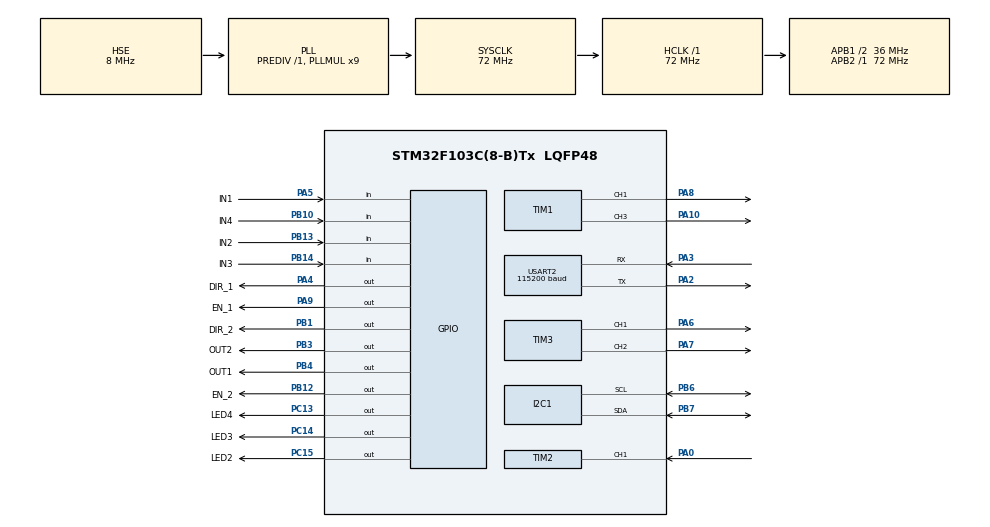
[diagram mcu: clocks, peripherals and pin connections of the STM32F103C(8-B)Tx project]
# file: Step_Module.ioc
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FREERTOS.HEAP_NUMBER=4
FREERTOS.Tasks01=IOTask,24,128,StartIOTask,Default,NULL,Dynamic,NULL,NULL;UartTask,40,128,StartUartTask,Default,NULL,Dynamic,NULL,NULL;MotorTask,24,128,StartMotorTask,Default,NULL,Dynamic,NULL,NULL;VisibleTask,26,128,StartVisibleTask,Default,NULL,Dynamic,NULL,NULL;encoderTask,29,128,StartEncodeTask,Default,NULL,Dynamic,NULL,NULL
FREERTOS.configTOTAL_HEAP_SIZE=4096
Mcu.Family=STM32F1
Mcu.Name=STM32F103C(8-B)Tx
Mcu.Package=LQFP48
NVIC.I2C1_ER_IRQn=true\:5\:0\:false\:false\:true\:true\:true\:true\:true
NVIC.I2C1_EV_IRQn=true\:5\:0\:false\:false\:true\:true\:true\:true\:true
NVIC.PriorityGroup=NVIC_PRIORITYGROUP_4
NVIC.RCC_IRQn=true\:5\:0\:false\:false\:true\:true\:true\:false\:true
NVIC.TIM1_BRK_IRQn=true\:5\:0\:false\:false\:true\:true\:true\:true\:true
NVIC.TIM1_CC_IRQn=true\:5\:0\:false\:false\:true\:true\:true\:true\:true
NVIC.TIM1_UP_IRQn=true\:5\:0\:false\:false\:true\:true\:true\:true\:true
NVIC.TIM2_IRQn=true\:5\:0\:false\:false\:true\:true\:true\:true\:true
NVIC.TIM3_IRQn=true\:5\:0\:false\:false\:true\:true\:true\:true\:true
NVIC.USART2_IRQn=true\:5\:0\:false\:false\:true\:true\:true\:true\:true
PA0-WKUP.Signal=S_TIM2_CH1_ETR
PA10.Signal=S_TIM1_CH3
PA13.Mode=Serial_Wire
PA13.Signal=SYS_JTMS-SWDIO
PA14.Mode=Serial_Wire
PA14.Signal=SYS_JTCK-SWCLK
PA2.Mode=Asynchronous
PA2.Signal=USART2_TX
PA3.Mode=Asynchronous
PA3.Signal=USART2_RX
PA4.GPIO_Label=DIR_1
PA4.Signal=GPIO_Output
PA5.GPIO_Label=IN1
PA5.Signal=GPIO_Input
PA6.Signal=S_TIM3_CH1
PA7.Signal=S_TIM3_CH2
PA8.Signal=S_TIM1_CH1
PA9.GPIO_Label=EN_1
PA9.Signal=GPIO_Output
PB1.GPIO_Label=DIR_2
PB1.Signal=GPIO_Output
PB10.GPIO_Label=IN4
PB10.Signal=GPIO_Input
PB12.GPIO_Label=EN_2
PB12.Signal=GPIO_Output
PB13.GPIO_Label=IN2
PB13.Signal=GPIO_Input
PB14.GPIO_Label=IN3
PB14.Signal=GPIO_Input
PB3.GPIO_Label=OUT2
PB3.Signal=GPIO_Output
PB4.GPIO_Label=OUT1
PB4.Signal=GPIO_Output
PB6.Mode=I2C
PB6.Signal=I2C1_SCL
PB7.Mode=I2C
PB7.Signal=I2C1_SDA
PC13-TAMPER-RTC.GPIO_Label=LED4
PC13-TAMPER-RTC.Signal=GPIO_Output
PC14-OSC32_IN.GPIO_Label=LED3
PC14-OSC32_IN.Signal=GPIO_Output
PC15-OSC32_OUT.GPIO_Label=LED2
PC15-OSC32_OUT.Signal=GPIO_Output
PD0-OSC_IN.Mode=HSE-External-Oscillator
PD0-OSC_IN.Signal=RCC_OSC_IN
PD1-OSC_OUT.Mode=HSE-External-Oscillator
PD1-OSC_OUT.Signal=RCC_OSC_OUT
ProjectManager.HeapSize=0x200
ProjectManager.StackSize=0x400
ProjectManager.TargetToolchain=STM32CubeIDE
RCC.AHBFreq_Value=72000000
RCC.APB1CLKDivider=RCC_HCLK_DIV2
RCC.APB1Freq_Value=36000000
RCC.APB1TimFreq_Value=72000000
RCC.APB2Freq_Value=72000000
RCC.APB2TimFreq_Value=72000000
RCC.HCLKFreq_Value=72000000
RCC.PLLMUL=RCC_PLL_MUL9
RCC.PLLSourceVirtual=RCC_PLLSOURCE_HSE
RCC.SYSCLKFreq_VALUE=72000000
RCC.SYSCLKSource=RCC_SYSCLKSOURCE_PLLCLK
RCC.USBFreq_Value=72000000
SH.S_TIM1_CH1.0=TIM1_CH1,PWM Generation1 CH1
SH.S_TIM1_CH3.0=TIM1_CH3,PWM Generation3 CH3
SH.S_TIM2_CH1_ETR.0=TIM2_CH1,TriggerSource_TI1ED
SH.S_TIM3_CH1.0=TIM3_CH1,PWM Generation1 CH1
SH.S_TIM3_CH2.0=TIM3_CH2,PWM Generation2 CH2
TIM1.Channel-PWM\ Generation1\ CH1=TIM_CHANNEL_1
TIM1.Channel-PWM\ Generation3\ CH3=TIM_CHANNEL_3
TIM2.Channel-Input_Capture1_from_TRC=TIM_CHANNEL_1
TIM2.Slave_TriggerFilter=8
TIM3.Channel-PWM\ Generation1\ CH1=TIM_CHANNEL_1
TIM3.Channel-PWM\ Generation2\ CH2=TIM_CHANNEL_2
USART2.BaudRate=115200
USART2.VirtualMode=VM_ASYNC
VP_FREERTOS_VS_CMSIS_V2.Mode=CMSIS_V2
VP_TIM1_VS_ClockSourceINT.Mode=Internal
VP_TIM2_VS_CH1.Mode=Input_Capture1_from_TRC
VP_TIM2_VS_ControllerModeClock.Mode=Clock Mode
VP_TIM3_VS_ClockSourceINT.Mode=Internal
board=custom

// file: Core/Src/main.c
/* USER CODE BEGIN Header */
/**
  ******************************************************************************
  * @file           : main.c
  * @brief          : Main program body
  ******************************************************************************
  * @attention
  *
  * Copyright (c) 2025 STMicroelectronics.
  * All rights reserved.
  *
  * This software is licensed under terms that can be found in the LICENSE file
  * in the root directory of this software component.
  * If no LICENSE file comes with this software, it is provided AS-IS.
  *
  ******************************************************************************
  */
/* USER CODE END Header */
#include "main.h"
#include "cmsis_os.h"

/* USER CODE BEGIN Includes */
#include <string.h>
#include "MotorControl.h"
#include "UartModbus.h"
#include "ModbusMap.h"
#include "DOutput.h"
#include "Encoder.h"
/* USER CODE END Includes */

I2C_HandleTypeDef hi2c1;

TIM_HandleTypeDef htim1;
TIM_HandleTypeDef htim2;
TIM_HandleTypeDef htim3;

UART_HandleTypeDef huart2;
uint8_t current_baudrate = DEFAULT_CONFIG_BAUDRATE;

uint8_t PWM_Channel_Flag_1 = 0;
uint8_t PWM_Channel_Flag_2 = 0;
/* Definitions for IOTask */
osThreadId_t IOTaskHandle;
const osThreadAttr_t IOTask_attributes = {
  .name = "IOTask",
  .stack_size = 128 * 4,
  .priority = (osPriority_t) osPriorityNormal,
};
/* Definitions for UartTask */
osThreadId_t UartTaskHandle;
const osThreadAttr_t UartTask_attributes = {
  .name = "UartTask",
  .stack_size = 128 * 4,
  .priority = (osPriority_t) osPriorityHigh,
};
/* Definitions for MotorTask */
osThreadId_t MotorTaskHandle;
const osThreadAttr_t MotorTask_attributes = {
  .name = "MotorTask",
  .stack_size = 128 * 4,
  .priority = (osPriority_t) osPriorityNormal,
};
/* Definitions for VisibleTask */
osThreadId_t VisibleTaskHandle;
const osThreadAttr_t VisibleTask_attributes = {
  .name = "VisibleTask",
  .stack_size = 128 * 4,
  .priority = (osPriority_t) osPriorityNormal2,
};
/* Definitions for encoderTask */
osThreadId_t encoderTaskHandle;
const osThreadAttr_t encoderTask_attributes = {
  .name = "encoderTask",
  .stack_size = 128 * 4,
  .priority = (osPriority_t) osPriorityNormal5,
};
/* USER CODE BEGIN PV */
// Modbus register arrays

/* USER CODE END PV */

void SystemClock_Config(void);
static void MX_GPIO_Init(void);
static void MX_I2C1_Init(void);
static void MX_TIM2_Init(void);
static void MX_USART2_UART_Init(void);
static void MX_TIM1_Init(void);
static void MX_TIM3_Init(void);
void StartIOTask(void *argument);
void StartUartTask(void *argument);
void StartMotorTask(void *argument);
void StartVisibleTask(void *argument);
void StartEncodeTask(void *argument);

int main(void)
{

  /* MCU Configuration--------------------------------------------------------*/

  /* Reset of all peripherals, Initializes the Flash interface and the Systick. */
  HAL_Init();

  /* Configure the system clock */
  SystemClock_Config();

  /* Initialize all configured peripherals */
  MX_GPIO_Init();
  MX_I2C1_Init();
  MX_TIM2_Init();
  MX_USART2_UART_Init();
  MX_TIM1_Init();
  MX_TIM3_Init();
  /* USER CODE BEGIN 2 */

  // Start PWM timers for motor control
  // HAL_TIM_PWM_Start(&htim1, TIM_CHANNEL_1); // Motor 1 PWM
  // HAL_TIM_PWM_Start(&htim1, TIM_CHANNEL_3);
  //HAL_TIM_PWM_Start(&htim3, TIM_CHANNEL_1);
  // Initialize global variables
  g_totalReceived = 0;
  g_corruptionCount = 0;
  g_receivedIndex = 0;

  // Initialize Modbus registers
  // for (int i = 0; i < HOLDING_REG_COUNT; i++) {
  //   g_holdingRegisters[i] = 0;
  // }
  initializeModbusRegisters();
  Encoder_Init();
  // Set some default values for important registers

  // Initialize UART buffer
  memset(rxBuffer, 0, RX_BUFFER_SIZE);
  rxIndex = 0;
  frameReceived = 0;
  g_lastUARTActivity = HAL_GetTick();

  // Start UART reception
  HAL_UART_Receive_IT(&huart2, &rxBuffer[0], 1);
  /* USER CODE END 2 */

  /* Init scheduler */
  osKernelInitialize();

  /* Create the thread(s) */
  /* creation of IOTask */
  IOTaskHandle = osThreadNew(StartIOTask, NULL, &IOTask_attributes);

  /* creation of UartTask */
  UartTaskHandle = osThreadNew(StartUartTask, NULL, &UartTask_attributes);

  /* creation of MotorTask */
  MotorTaskHandle = osThreadNew(StartMotorTask, NULL, &MotorTask_attributes);

  /* creation of VisibleTask */
  VisibleTaskHandle = osThreadNew(StartVisibleTask, NULL, &VisibleTask_attributes);

  /* creation of encoderTask */
  encoderTaskHandle = osThreadNew(StartEncodeTask, NULL, &encoderTask_attributes);

  /* Start scheduler */
  osKernelStart();

  /* We should never get here as control is now taken by the scheduler */

  /* Infinite loop */
  while (1)
  {

  }
}

void SystemClock_Config(void)
{
  RCC_OscInitTypeDef RCC_OscInitStruct = {0};
  RCC_ClkInitTypeDef RCC_ClkInitStruct = {0};

  /** Initializes the RCC Oscillators according to the specified parameters
  * in the RCC_OscInitTypeDef structure.
  */
  RCC_OscInitStruct.OscillatorType = RCC_OSCILLATORTYPE_HSE;
  RCC_OscInitStruct.HSEState = RCC_HSE_ON;
  RCC_OscInitStruct.HSEPredivValue = RCC_HSE_PREDIV_DIV1;
  RCC_OscInitStruct.HSIState = RCC_HSI_ON;
  RCC_OscInitStruct.PLL.PLLState = RCC_PLL_ON;
  RCC_OscInitStruct.PLL.PLLSource = RCC_PLLSOURCE_HSE;
  RCC_OscInitStruct.PLL.PLLMUL = RCC_PLL_MUL9;
  if (HAL_RCC_OscConfig(&RCC_OscInitStruct) != HAL_OK)
  {
    Error_Handler();
  }

  /** Initializes the CPU, AHB and APB buses clocks
  */
  RCC_ClkInitStruct.ClockType = RCC_CLOCKTYPE_HCLK|RCC_CLOCKTYPE_SYSCLK
                              |RCC_CLOCKTYPE_PCLK1|RCC_CLOCKTYPE_PCLK2;
  RCC_ClkInitStruct.SYSCLKSource = RCC_SYSCLKSOURCE_PLLCLK;
  RCC_ClkInitStruct.AHBCLKDivider = RCC_SYSCLK_DIV1;
  RCC_ClkInitStruct.APB1CLKDivider = RCC_HCLK_DIV2;
  RCC_ClkInitStruct.APB2CLKDivider = RCC_HCLK_DIV1;

  if (HAL_RCC_ClockConfig(&RCC_ClkInitStruct, FLASH_LATENCY_2) != HAL_OK)
  {
    Error_Handler();
  }
}

static void MX_I2C1_Init(void)
{

  hi2c1.Instance = I2C1;
  hi2c1.Init.ClockSpeed = 100000;
  hi2c1.Init.DutyCycle = I2C_DUTYCYCLE_2;
  hi2c1.Init.OwnAddress1 = 0;
  hi2c1.Init.AddressingMode = I2C_ADDRESSINGMODE_7BIT;
  hi2c1.Init.DualAddressMode = I2C_DUALADDRESS_DISABLE;
  hi2c1.Init.OwnAddress2 = 0;
  hi2c1.Init.GeneralCallMode = I2C_GENERALCALL_DISABLE;
  hi2c1.Init.NoStretchMode = I2C_NOSTRETCH_DISABLE;
  if (HAL_I2C_Init(&hi2c1) != HAL_OK)
  {
    Error_Handler();
  }

}

static void MX_TIM1_Init(void)
{

  TIM_ClockConfigTypeDef sClockSourceConfig = {0};
  TIM_MasterConfigTypeDef sMasterConfig = {0};
  TIM_OC_InitTypeDef sConfigOC = {0};
  TIM_BreakDeadTimeConfigTypeDef sBreakDeadTimeConfig = {0};

  htim1.Instance = TIM1;
  htim1.Init.Prescaler = 0;
  htim1.Init.CounterMode = TIM_COUNTERMODE_UP;
  htim1.Init.Period = 65535;
  htim1.Init.ClockDivision = TIM_CLOCKDIVISION_DIV1;
  htim1.Init.RepetitionCounter = 0;
  htim1.Init.AutoReloadPreload = TIM_AUTORELOAD_PRELOAD_ENABLE;  // ✅ FIX JITTER: Bật preload để cập nhật ARR tại Update Event
  if (HAL_TIM_Base_Init(&htim1) != HAL_OK)
  {
    Error_Handler();
  }
  sClockSourceConfig.ClockSource = TIM_CLOCKSOURCE_INTERNAL;
  if (HAL_TIM_ConfigClockSource(&htim1, &sClockSourceConfig) != HAL_OK)
  {
    Error_Handler();
  }
  if (HAL_TIM_PWM_Init(&htim1) != HAL_OK)
  {
    Error_Handler();
  }
  sMasterConfig.MasterOutputTrigger = TIM_TRGO_RESET;
  sMasterConfig.MasterSlaveMode = TIM_MASTERSLAVEMODE_DISABLE;
  if (HAL_TIMEx_MasterConfigSynchronization(&htim1, &sMasterConfig) != HAL_OK)
  {
    Error_Handler();
  }
  sConfigOC.OCMode = TIM_OCMODE_PWM1;
  sConfigOC.Pulse = 0;
  sConfigOC.OCPolarity = TIM_OCPOLARITY_HIGH;
  sConfigOC.OCNPolarity = TIM_OCNPOLARITY_HIGH;
  sConfigOC.OCFastMode = TIM_OCFAST_DISABLE;
  sConfigOC.OCIdleState = TIM_OCIDLESTATE_RESET;
  sConfigOC.OCNIdleState = TIM_OCNIDLESTATE_RESET;
  if (HAL_TIM_PWM_ConfigChannel(&htim1, &sConfigOC, TIM_CHANNEL_1) != HAL_OK)
  {
    Error_Handler();
  }
  if (HAL_TIM_PWM_ConfigChannel(&htim1, &sConfigOC, TIM_CHANNEL_3) != HAL_OK)
  {
    Error_Handler();
  }
  sBreakDeadTimeConfig.OffStateRunMode = TIM_OSSR_DISABLE;
  sBreakDeadTimeConfig.OffStateIDLEMode = TIM_OSSI_DISABLE;
  sBreakDeadTimeConfig.LockLevel = TIM_LOCKLEVEL_OFF;
  sBreakDeadTimeConfig.DeadTime = 0;
  sBreakDeadTimeConfig.BreakState = TIM_BREAK_DISABLE;
  sBreakDeadTimeConfig.BreakPolarity = TIM_BREAKPOLARITY_HIGH;
  sBreakDeadTimeConfig.AutomaticOutput = TIM_AUTOMATICOUTPUT_DISABLE;
  if (HAL_TIMEx_ConfigBreakDeadTime(&htim1, &sBreakDeadTimeConfig) != HAL_OK)
  {
    Error_Handler();
  }
  HAL_TIM_MspPostInit(&htim1);

}

static void MX_TIM2_Init(void)
{

  TIM_SlaveConfigTypeDef sSlaveConfig = {0};
  TIM_MasterConfigTypeDef sMasterConfig = {0};
  TIM_IC_InitTypeDef sConfigIC = {0};

  htim2.Instance = TIM2;
  htim2.Init.Prescaler = 0;
  htim2.Init.CounterMode = TIM_COUNTERMODE_UP;
  htim2.Init.Period = 65535;
  htim2.Init.ClockDivision = TIM_CLOCKDIVISION_DIV1;
  htim2.Init.AutoReloadPreload = TIM_AUTORELOAD_PRELOAD_DISABLE;
  if (HAL_TIM_Base_Init(&htim2) != HAL_OK)
  {
    Error_Handler();
  }
  if (HAL_TIM_IC_Init(&htim2) != HAL_OK)
  {
    Error_Handler();
  }
  sSlaveConfig.SlaveMode = TIM_SLAVEMODE_EXTERNAL1;
  sSlaveConfig.InputTrigger = TIM_TS_TI1F_ED;
  sSlaveConfig.TriggerFilter = 8;
  if (HAL_TIM_SlaveConfigSynchro(&htim2, &sSlaveConfig) != HAL_OK)
  {
    Error_Handler();
  }
  sMasterConfig.MasterOutputTrigger = TIM_TRGO_RESET;
  sMasterConfig.MasterSlaveMode = TIM_MASTERSLAVEMODE_DISABLE;
  if (HAL_TIMEx_MasterConfigSynchronization(&htim2, &sMasterConfig) != HAL_OK)
  {
    Error_Handler();
  }
  sConfigIC.ICPolarity = TIM_INPUTCHANNELPOLARITY_RISING;
  sConfigIC.ICSelection = TIM_ICSELECTION_TRC;
  sConfigIC.ICPrescaler = TIM_ICPSC_DIV1;
  sConfigIC.ICFilter = 0;
  if (HAL_TIM_IC_ConfigChannel(&htim2, &sConfigIC, TIM_CHANNEL_1) != HAL_OK)
  {
    Error_Handler();
  }

}

static void MX_TIM3_Init(void)
{

  TIM_ClockConfigTypeDef sClockSourceConfig = {0};
  TIM_MasterConfigTypeDef sMasterConfig = {0};
  TIM_OC_InitTypeDef sConfigOC = {0};

  htim3.Instance = TIM3;
  htim3.Init.Prescaler = 0;
  htim3.Init.CounterMode = TIM_COUNTERMODE_UP;
  htim3.Init.Period = 65535;
  htim3.Init.ClockDivision = TIM_CLOCKDIVISION_DIV1;
  htim3.Init.AutoReloadPreload = TIM_AUTORELOAD_PRELOAD_ENABLE;  // ✅ FIX JITTER: Bật preload để cập nhật ARR tại Update Event
  if (HAL_TIM_Base_Init(&htim3) != HAL_OK)
  {
    Error_Handler();
  }
  sClockSourceConfig.ClockSource = TIM_CLOCKSOURCE_INTERNAL;
  if (HAL_TIM_ConfigClockSource(&htim3, &sClockSourceConfig) != HAL_OK)
  {
    Error_Handler();
  }
  if (HAL_TIM_PWM_Init(&htim3) != HAL_OK)
  {
    Error_Handler();
  }
  sMasterConfig.MasterOutputTrigger = TIM_TRGO_RESET;
  sMasterConfig.MasterSlaveMode = TIM_MASTERSLAVEMODE_DISABLE;
  if (HAL_TIMEx_MasterConfigSynchronization(&htim3, &sMasterConfig) != HAL_OK)
  {
    Error_Handler();
  }
  sConfigOC.OCMode = TIM_OCMODE_PWM1;
  sConfigOC.Pulse = 0;
  sConfigOC.OCPolarity = TIM_OCPOLARITY_HIGH;
  sConfigOC.OCFastMode = TIM_OCFAST_DISABLE;
  if (HAL_TIM_PWM_ConfigChannel(&htim3, &sConfigOC, TIM_CHANNEL_1) != HAL_OK)
  {
    Error_Handler();
  }
  if (HAL_TIM_PWM_ConfigChannel(&htim3, &sConfigOC, TIM_CHANNEL_2) != HAL_OK)
  {
    Error_Handler();
  }
  HAL_TIM_MspPostInit(&htim3);

}

static void MX_USART2_UART_Init(void)
{

  huart2.Instance = USART2;
  huart2.Init.BaudRate = 115200;
  huart2.Init.WordLength = UART_WORDLENGTH_8B;
  huart2.Init.StopBits = UART_STOPBITS_1;
  huart2.Init.Parity = UART_PARITY_NONE;
  huart2.Init.Mode = UART_MODE_TX_RX;
  huart2.Init.HwFlowCtl = UART_HWCONTROL_NONE;
  huart2.Init.OverSampling = UART_OVERSAMPLING_16;
  if (HAL_UART_Init(&huart2) != HAL_OK)
  {
    Error_Handler();
  }

}

static void MX_GPIO_Init(void)
{
  GPIO_InitTypeDef GPIO_InitStruct = {0};

  /* GPIO Ports Clock Enable */
  __HAL_RCC_GPIOC_CLK_ENABLE();
  __HAL_RCC_GPIOD_CLK_ENABLE();
  __HAL_RCC_GPIOA_CLK_ENABLE();
  __HAL_RCC_GPIOB_CLK_ENABLE();

  /*Configure GPIO pin Output Level */
  HAL_GPIO_WritePin(GPIOC, LED4_Pin|LED3_Pin|LED2_Pin, GPIO_PIN_RESET);

  /*Configure GPIO pin Output Level */
  HAL_GPIO_WritePin(GPIOA, DIR_1_Pin|EN_1_Pin, GPIO_PIN_RESET);

  /*Configure GPIO pin Output Level */
  HAL_GPIO_WritePin(GPIOB, DIR_2_Pin|EN_2_Pin|OUT2_Pin|OUT1_Pin, GPIO_PIN_RESET);

  /*Configure GPIO pins : LED4_Pin LED3_Pin LED2_Pin */
  GPIO_InitStruct.Pin = LED4_Pin|LED3_Pin|LED2_Pin;
  GPIO_InitStruct.Mode = GPIO_MODE_OUTPUT_PP;
  GPIO_InitStruct.Pull = GPIO_NOPULL;
  GPIO_InitStruct.Speed = GPIO_SPEED_FREQ_LOW;
  HAL_GPIO_Init(GPIOC, &GPIO_InitStruct);

  /*Configure GPIO pins : DIR_1_Pin EN_1_Pin */
  GPIO_InitStruct.Pin = DIR_1_Pin|EN_1_Pin;
  GPIO_InitStruct.Mode = GPIO_MODE_OUTPUT_PP;
  GPIO_InitStruct.Pull = GPIO_NOPULL;
  GPIO_InitStruct.Speed = GPIO_SPEED_FREQ_LOW;
  HAL_GPIO_Init(GPIOA, &GPIO_InitStruct);

  /*Configure GPIO pin : IN1_Pin */
  GPIO_InitStruct.Pin = IN1_Pin;
  GPIO_InitStruct.Mode = GPIO_MODE_INPUT;
  GPIO_InitStruct.Pull = GPIO_NOPULL;
  HAL_GPIO_Init(IN1_GPIO_Port, &GPIO_InitStruct);

  /*Configure GPIO pins : DIR_2_Pin EN_2_Pin OUT2_Pin OUT1_Pin */
  GPIO_InitStruct.Pin = DIR_2_Pin|EN_2_Pin|OUT2_Pin|OUT1_Pin;
  GPIO_InitStruct.Mode = GPIO_MODE_OUTPUT_PP;
  GPIO_InitStruct.Pull = GPIO_NOPULL;
  GPIO_InitStruct.Speed = GPIO_SPEED_FREQ_LOW;
  HAL_GPIO_Init(GPIOB, &GPIO_InitStruct);

  /*Configure GPIO pins : IN4_Pin IN2_Pin IN3_Pin */
  GPIO_InitStruct.Pin = IN4_Pin|IN2_Pin|IN3_Pin;
  GPIO_InitStruct.Mode = GPIO_MODE_INPUT;
  GPIO_InitStruct.Pull = GPIO_NOPULL;
  HAL_GPIO_Init(GPIOB, &GPIO_InitStruct);

}

void StartIOTask(void *argument)
{
  /* USER CODE BEGIN 5 */
  uint32_t previousTick = osKernelGetTickCount();
  /* Infinite loop */
  for(;;)
  {
    // Heartbeat LED toggle
    //HAL_GPIO_TogglePin(LED3_GPIO_Port, LED3_Pin);
    DOutput_Load(&doutput_state);
    DOutput_Process(&doutput_state);
    DOutput_Save(&doutput_state);
    // Update task counter
    g_taskCounter++;

    // Update input registers periodically (simulate sensor data)
    g_inputRegisters[0] = g_taskCounter;
    g_inputRegisters[1] = HAL_GetTick() & 0xFFFF;
    //Read_ACS712();

    osDelayUntil(previousTick += 500); // 500ms delay
  }
  /* USER CODE END 5 */
}

void StartUartTask(void *argument)
{
  /* USER CODE BEGIN StartUartTask */
  startModbusUARTReception();

  // Tính toán thời gian timeout dựa trên baudrate
  uint32_t charTime = (11 * 1000) / huart2.Init.BaudRate; // 11 bit per char (8N1 + start/stop)
  uint32_t frameTimeout = charTime * 4; // 3.5 char time for Modbus RTU
  if (frameTimeout < 5) frameTimeout = 5; // Tối thiểu 5ms
  uint32_t previousTick = osKernelGetTickCount();
  /* Infinite loop */
  for(;;) {

    g_modbusCounter++;

    // Xử lý frame đã nhận đủ
    if (frameReceived) {
        processModbusFrame();
    }

    // Kiểm tra timeout cho frame chưa hoàn chỉnh
    // Nếu có dữ liệu trong buffer nhưng chưa đủ frame và đã timeout
    if (!frameReceived && rxIndex > 0 && (HAL_GetTick() - g_lastUARTActivity > frameTimeout)) {
        // Frame không hoàn chỉnh và đã timeout - bỏ qua và reset
        rxIndex = 0;
        frameReceived = 0;
        g_corruptionCount++;
    }

    // Kiểm tra sức khỏe UART định kỳ
    checkUARTHealth();

    // Delay 1ms
    osDelayUntil(previousTick += 20);
  }
  /* USER CODE END StartUartTask */
}

void StartMotorTask(void *argument)
{
  /* USER CODE BEGIN StartMotorTask */
  const uint16_t M1_BASE_ADDR = 0x0000;
  const uint16_t M2_BASE_ADDR = 0x0010;
  // Initialize PID controllers with default values
  uint32_t previousTick = osKernelGetTickCount();
  MotionState_Init(1);
  MotionState_Init(2);

  // Vòng lặp RTOS
  for (;;)
  {
      // 1. Load dữ liệu từ Modbus registers
      SystemRegisters_Load(&system);
      MotorRegisters_Load(&motor1, M1_BASE_ADDR);
      MotorRegisters_Load(&motor2, M2_BASE_ADDR);
      if(system.Reset_Error_Command == 1){
        System_ResetSystem();
      }
      updateBaudrate();
      // 2. Xử lý logic điều khiển motor 1
      Motor_ProcessControl(&motor1);

      // 3. Xử lý logic điều khiển motor 2
      Motor_ProcessControl(&motor2);

      // 4. Save lại dữ liệu ngược ra Modbus registers
      MotorRegisters_Save(&motor1, M1_BASE_ADDR);
      MotorRegisters_Save(&motor2, M2_BASE_ADDR);
      SystemRegisters_Save(&system);
      // 5. Delay theo chu kỳ task (ví dụ 10ms)
      osDelayUntil(previousTick += 20);
  }
  /* USER CODE END StartMotorTask */
}

void StartVisibleTask(void *argument)
{
  /* USER CODE BEGIN StartVisibleTask */
  uint32_t previousTick = osKernelGetTickCount();
  for(;;)
  {
    HAL_GPIO_TogglePin(LED2_GPIO_Port, LED2_Pin);

    if(g_ledIndicator == 1)
    {
      HAL_GPIO_TogglePin(LED3_GPIO_Port, LED3_Pin);
      g_ledIndicator = 0;
    }

    osDelayUntil(previousTick += 120); // giữ chu kỳ chính xác 250ms
  }
  /* USER CODE END StartVisibleTask */
}

void StartEncodeTask(void *argument)
{
  /* USER CODE BEGIN StartEncodeTask */
  uint32_t previousTick = osKernelGetTickCount();
  /* Infinite loop */
  for(;;)
  {
    Encoder_Update();
    osDelayUntil(previousTick += 100);
  }
  /* USER CODE END StartEncodeTask */
}

void Error_Handler(void)
{
  __disable_irq();
  while (1)
  {
  }
}
